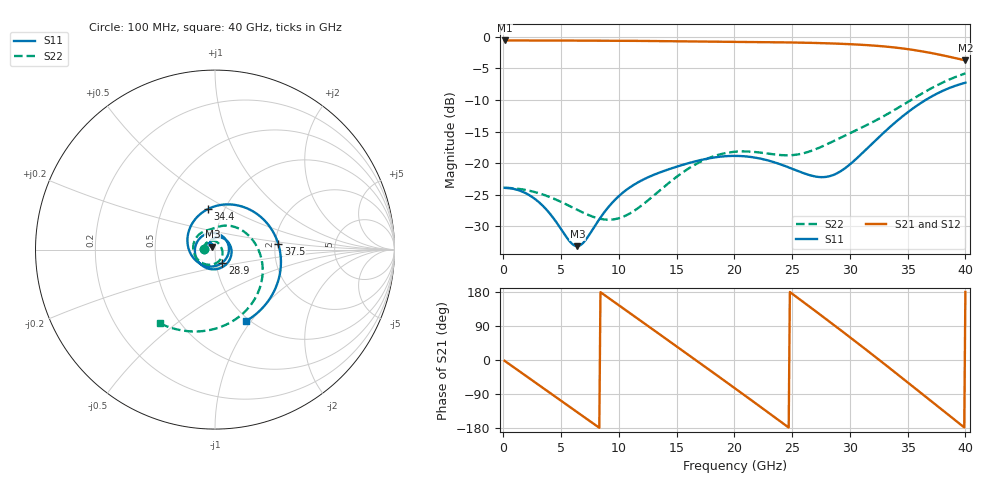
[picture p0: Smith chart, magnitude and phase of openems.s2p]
! C_s8_offset: L1→L8, antipad Ø0.9 offset 0.1 mm from the via
! stackup: 8-layer 1.6 mm FR-4 (generic)
! ports: 1, 2
! openEMS 0.37.0, staircase, fine mesh (dfine 0.0175 mm), 1331820 cells
# Hz S RI R 50
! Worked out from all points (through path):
!   400 points, 100 MHz to 40 GHz, reference 50 ohm
!   highest |S21| = -0.57 dB at 100 MHz (marker M1); lowest = -3.7 dB at 40 GHz (marker M2)
!   group delay of S21, straight-line fit = 62.2 ps
!   lowest |S11| = -33.1 dB at 6.4 GHz (marker M3), VSWR 1.05, Z = 48.6 + j1.62 ohm
!   |S11| at or under -10 dB: start of sweep to 36.55 GHz
!   |S22| runs from -28.9 to -5.8 dB; largest |S21 - S12| = 0.0068
!   S11 on the Smith chart (normalised r, x): 100 MHz: 0.88, +0.00; 28.9 GHz: 1.07, -0.16; 34.4 GHz: 0.83, +0.40; 37.5 GHz: 2.08, +0.15; 40 GHz: 0.97, -0.95
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1e8  -0.0639 0.0018  0.9353 -0.0352  0.9353 -0.0352  -0.0638 0.00187
1.7e9  -0.0527 0.0271  0.7511 -0.558  0.7511 -0.558  -0.0544 0.0297
3.5e9  -0.0273 0.036  0.2363 -0.9047  0.2363 -0.9047  -0.0289 0.0482
6.4e9  -0.0144 0.0167  -0.6922 -0.6264  -0.6921 -0.6264  0.0129 0.0407
6.8e9  -0.0169 0.0155  -0.7781 -0.5154  -0.7781 -0.5154  0.0168 0.0375
9.6e9  -0.027 0.0429  -0.8297 0.4225  -0.8299 0.4224  0.0338 0.0125
1.16e10  0.0133 0.0688  -0.3125 0.8745  -0.3128 0.8748  0.0419 -0.0127
1.34e10  0.0701 0.0455  0.3081 0.8727  0.3083 0.8733  0.0343 -0.0485
1.52e10  0.0914 -0.0264  0.7868 0.4797  0.7876 0.4799  -0.00509 -0.0804
1.67e10  0.0564 -0.0873  0.9178 -0.0215  0.9185 -0.0221  -0.0573 -0.0804
1.83e10  -0.0187 -0.1096  0.7369 -0.5419  0.7368 -0.5428  -0.1061 -0.0425
2.01e10  -0.0947 -0.064  0.2226 -0.884  0.2218 -0.8842  -0.1204 0.0266
2.18e10  -0.1093 0.0175  -0.3619 -0.8337  -0.3623 -0.8334  -0.0925 0.0805
2.38e10  -0.0469 0.0875  -0.8398 -0.3377  -0.8398 -0.3373  -0.0444 0.1076
2.67e10  0.0711 0.0357  -0.6476 0.6188  -0.6471 0.6186  0.0121 0.125
2.89e10  0.0407 -0.0727  0.0658 0.8809  0.0651 0.88  0.0783 0.1331
3.14e10  -0.1188 -0.0485  0.7653 0.394  0.7638 0.3964  0.1797 0.0857
3.34e10  -0.1305 0.1394  0.7799 -0.2905  0.7832 -0.2877  0.2486 -0.0176
3.44e10  -0.0414 0.2248  0.5795 -0.5703  0.5846 -0.5702  0.2652 -0.0966
3.59e10  0.1733 0.232  0.1227 -0.7673  0.1257 -0.7726  0.2368 -0.2459
3.75e10  0.3524 0.0315  -0.3629 -0.6341  -0.3667 -0.6396  0.0962 -0.4001
4e10  0.1753 -0.3966  -0.6511 0.0036  -0.6556 0.00843  -0.309 -0.41
